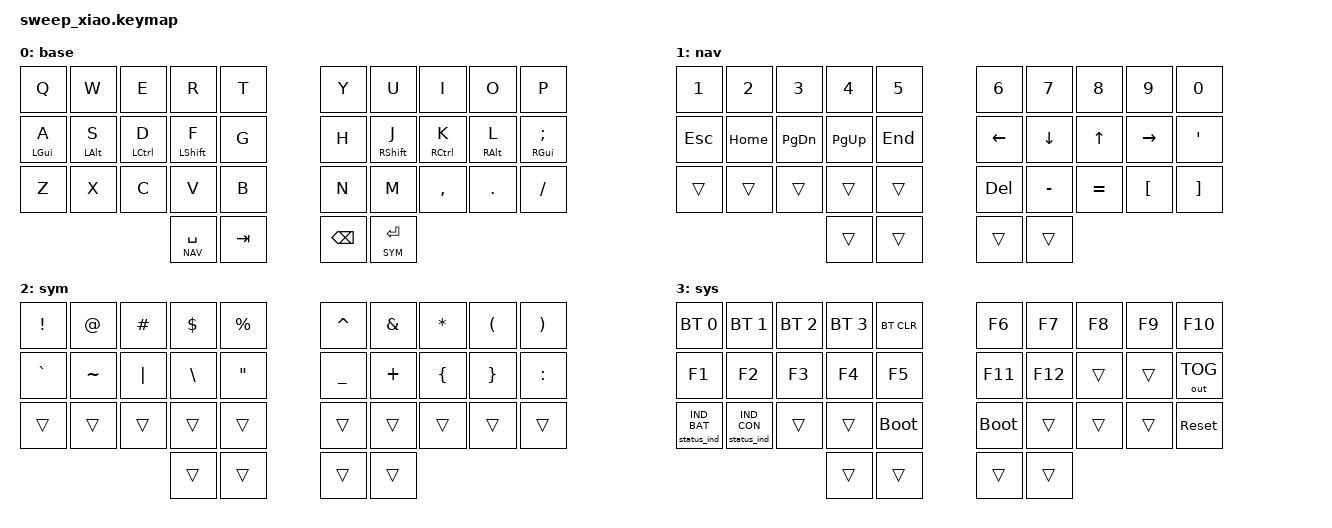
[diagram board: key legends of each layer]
/* Starter keymap: QWERTY + nav/num + symbols + Bluetooth.
 * SYS layer (hold both thumb layer keys): bottom-left Z/X positions show the
 * battery level / connection state on the status LEDs of both halves. */
#include <behaviors.dtsi>
#include <dt-bindings/zmk/keys.h>
#include <dt-bindings/zmk/bt.h>
#include <dt-bindings/zmk/outputs.h>
#include <behaviors/status_ind.dtsi>   /* &status_ind IND_BAT / IND_CON (status LEDs) */

#define BASE 0
#define NAV  1
#define SYM  2
#define SYS  3

/ {
    conditional_layers {
        compatible = "zmk,conditional-layers";
        tri_layer { if-layers = <NAV SYM>; then-layer = <SYS>; };
    };

    keymap {
        compatible = "zmk,keymap";

        base {
            bindings = <
&kp Q         &kp W         &kp E         &kp R         &kp T        &kp Y  &kp U         &kp I         &kp O         &kp P
&mt LGUI A    &mt LALT S    &mt LCTRL D   &mt LSHFT F   &kp G        &kp H  &mt RSHFT J   &mt RCTRL K   &mt RALT L    &mt RGUI SEMI
&kp Z         &kp X         &kp C         &kp V         &kp B        &kp N  &kp M         &kp COMMA     &kp DOT       &kp FSLH
                                          &lt NAV SPACE &kp TAB      &kp BSPC &lt SYM RET
            >;
        };

        nav {
            bindings = <
&kp N1   &kp N2   &kp N3   &kp N4   &kp N5       &kp N6    &kp N7    &kp N8    &kp N9    &kp N0
&kp ESC  &kp HOME &kp PG_DN &kp PG_UP &kp END    &kp LEFT  &kp DOWN  &kp UP    &kp RIGHT &kp SQT
&trans   &trans   &trans   &trans   &trans       &kp DEL   &kp MINUS &kp EQUAL &kp LBKT  &kp RBKT
                           &trans   &trans       &trans    &trans
            >;
        };

        sym {
            bindings = <
&kp EXCL &kp AT   &kp HASH &kp DLLR &kp PRCNT    &kp CARET &kp AMPS  &kp STAR  &kp LPAR  &kp RPAR
&kp GRAVE &kp TILDE &kp PIPE &kp BSLH &kp DQT    &kp UNDER &kp PLUS  &kp LBRC  &kp RBRC  &kp COLON
&trans   &trans   &trans   &trans   &trans       &trans    &trans    &trans    &trans    &trans
                           &trans   &trans       &trans    &trans
            >;
        };

        sys {
            bindings = <
&bt BT_SEL 0 &bt BT_SEL 1 &bt BT_SEL 2 &bt BT_SEL 3 &bt BT_CLR   &kp F6 &kp F7 &kp F8 &kp F9 &kp F10
&kp F1   &kp F2   &kp F3   &kp F4   &kp F5       &kp F11 &kp F12 &trans &trans &out OUT_TOG
&status_ind IND_BAT &status_ind IND_CON &trans &trans &bootloader  &bootloader &trans &trans &trans &sys_reset
                           &trans   &trans       &trans    &trans
            >;
        };
    };
};
